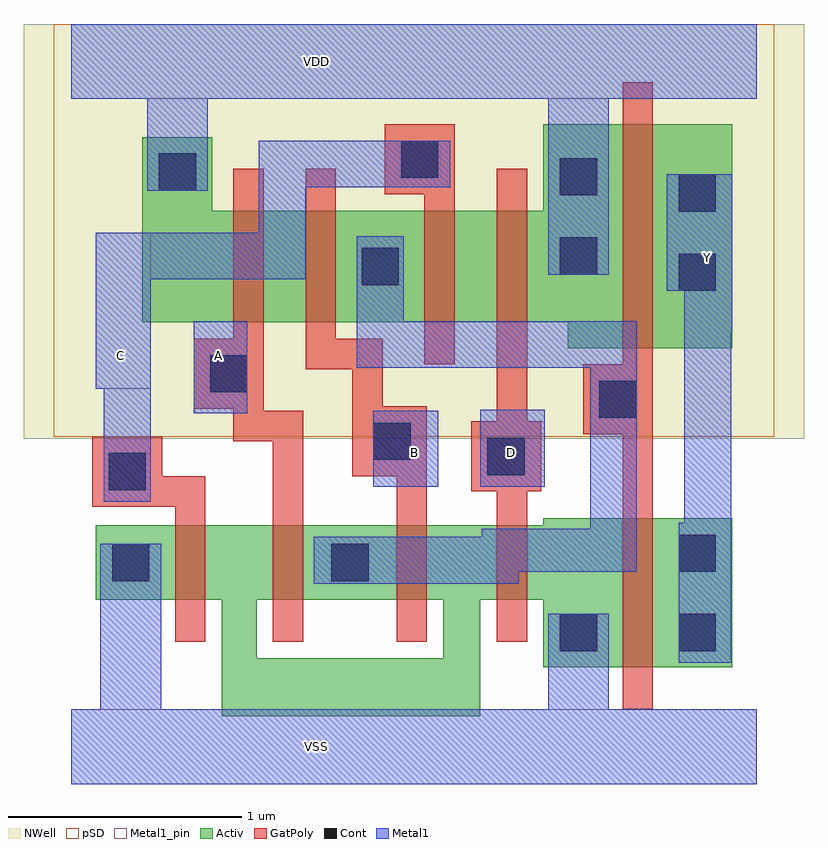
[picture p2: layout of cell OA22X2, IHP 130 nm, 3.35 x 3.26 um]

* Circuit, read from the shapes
.subckt OA22X2 A B C D VDD VSS Y
XM1 n1 C VSS VSUBS sg13_lv_nmos w=0.32u l=0.13u
XM2 n2 A n1 VSUBS sg13_lv_nmos w=0.32u l=0.13u
XM3 n1 B n2 VSUBS sg13_lv_nmos w=0.32u l=0.13u
XM4 VSS D n1 VSUBS sg13_lv_nmos w=0.32u l=0.13u
XM5 Y n2 VSS VSUBS sg13_lv_nmos w=0.64u l=0.13u
XM6 n3 A VDD n4 sg13_lv_pmos w=0.48u l=0.13u
XM7 n2 B n3 n4 sg13_lv_pmos w=0.48u l=0.13u
XM8 n5 C n2 n4 sg13_lv_pmos w=0.48u l=0.13u
XM9 VDD D n5 n4 sg13_lv_pmos w=0.48u l=0.13u
XM10 Y n2 VDD n4 sg13_lv_pmos w=0.96u l=0.13u
.ends

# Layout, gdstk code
import gdstk
lib = gdstk.Library(unit=1e-6, precision=1e-09)
def R(c, l, rs):  # rectangles x0, y0, x1, y1
    for r in rs: c.add(gdstk.rectangle(r[:2], r[2:], *l))
def P(c, l, *ps):  # polygons
    for p in ps: c.add(gdstk.Polygon(p, *l))
Activ = (1, 0)
GatPoly = (5, 0)
Cont = (6, 0)
Metal1 = (8, 0)
Metal1_pin = (8, 2)
pSD = (14, 0)
NWell = (31, 0)

oa22x2 = lib.new_cell('OA22X2')
P(oa22x2, Activ, [(0.645,0.13),(0.645,0.63),(0.105,0.63),(0.105,0.95),(1.595,0.95),(1.595,0.63),(0.795,0.63),(0.795,0.38),(1.595,0.38),(1.595,0.95),(2.025,0.95),(2.025,0.98),(2.835,0.98),(2.835,0.34),(2.025,0.34),(2.025,0.63),(1.755,0.63),(1.755,0.13)],
  [(2.13,1.71),(2.13,1.82),(0.305,1.82),(0.305,2.615),(0.605,2.615),(0.605,2.3),(2.025,2.3),(2.025,2.67),(2.835,2.67),(2.835,1.71)])
P(oa22x2, GatPoly, [(1.395,0.45),(1.395,1.16),(1.205,1.16),(1.205,1.62),(1.005,1.62),(1.005,2.48),(1.135,2.48),(1.135,1.75),(1.335,1.75),(1.335,1.46),(1.525,1.46),(1.525,0.45)],
  [(1.515,1.64),(1.515,2.37),(1.345,2.37),(1.345,2.67),(1.645,2.67),(1.645,1.64)],
  [(1.825,0.45),(1.825,1.095),(1.715,1.095),(1.715,1.395),(1.825,1.395),(1.825,2.48),(1.955,2.48),(1.955,1.395),(2.015,1.395),(2.015,1.095),(1.955,1.095),(1.955,0.45)],
  [(0.445,0.45),(0.445,1.03),(0.09,1.03),(0.09,1.33),(0.39,1.33),(0.39,1.16),(0.575,1.16),(0.575,0.45)],
  [(0.865,0.45),(0.865,1.31),(0.695,1.31),(0.695,1.45),(0.525,1.45),(0.525,1.75),(0.695,1.75),(0.695,2.48),(0.825,2.48),(0.825,1.44),(0.995,1.44),(0.995,0.45)],
  [(2.365,0.16),(2.365,1.34),(2.195,1.34),(2.195,1.64),(2.365,1.64),(2.365,2.85),(2.495,2.85),(2.495,0.16)])
R(oa22x2, Cont, [(2.095,0.41,2.255,0.57), (2.605,0.41,2.765,0.57), (0.175,0.71,0.335,0.87), (1.115,0.71,1.275,0.87), (2.605,0.75,2.765,0.91), (0.16,1.1,0.32,1.26), (1.785,1.165,1.945,1.325), (1.295,1.23,1.455,1.39), (2.265,1.41,2.425,1.57), (0.595,1.52,0.755,1.68), (2.605,1.955,2.765,2.115), (1.245,1.98,1.405,2.14), (2.095,2.025,2.255,2.185), (2.605,2.295,2.765,2.455), (2.095,2.365,2.255,2.525), (0.375,2.385,0.535,2.545), (1.415,2.44,1.575,2.6)])
R(oa22x2, Metal1, [(1.295,1.115,1.575,1.44), (1.755,1.115,2.03,1.445), (0.525,1.43,0.755,1.825)])
P(oa22x2, Metal1, [(2.045,2.025),(2.045,2.78),(0.585,2.78),(0.585,2.385),(0.325,2.385),(0.325,2.78),(0,2.78),(0,3.1),(2.94,3.1),(2.94,2.78),(2.305,2.78),(2.305,2.025)],
  [(0,-0.16),(0,0.16),(0.125,0.16),(0.125,0.87),(0.385,0.87),(0.385,0.16),(2.045,0.16),(2.045,0.57),(2.305,0.57),(2.305,0.16),(2.94,0.16),(2.94,-0.16)],
  [(0.14,1.05),(0.14,1.535),(0.105,1.535),(0.105,2.205),(0.805,2.205),(0.805,2.6),(1.625,2.6),(1.625,2.4),(1.005,2.4),(1.005,2.005),(0.34,2.005),(0.34,1.05)],
  [(2.605,0.36),(2.605,0.96),(2.63,0.96),(2.63,1.955),(2.555,1.955),(2.555,2.455),(2.835,2.455),(2.835,1.78),(2.83,1.78),(2.83,0.36)],
  [(1.04,0.7),(1.04,0.9),(1.76,0.9),(1.76,0.935),(2.225,0.935),(2.225,1.625),(1.225,1.625),(1.225,2.19),(1.425,2.19),(1.425,1.825),(2.425,1.825),(2.425,0.75),(1.92,0.75),(1.92,0.7)])
R(oa22x2, Metal1_pin, [(0,-0.16,2.94,0.16), (1.295,1.115,1.575,1.44), (1.755,1.115,2.03,1.445), (0.525,1.43,0.755,1.825), (0.105,1.535,0.34,2.205), (2.555,1.955,2.835,2.455), (0,2.78,2.94,3.1)])
P(oa22x2, Metal1_pin, [(2.605,0.36),(2.605,0.96),(2.63,0.96),(2.63,1.955),(2.555,1.955),(2.555,2.455),(2.835,2.455),(2.835,1.78),(2.83,1.78),(2.83,0.36)])
R(oa22x2, pSD, [(-0.075,1.33,3.015,3.1)])
R(oa22x2, NWell, [(-0.205,1.32,3.145,3.1)])
oa22x2.add(gdstk.Label('D', (1.89,1.26), layer=8, texttype=25))
oa22x2.add(gdstk.Label('C', (0.21,1.68), layer=8, texttype=25))
oa22x2.add(gdstk.Label('A', (0.63,1.68), layer=8, texttype=25))
oa22x2.add(gdstk.Label('Y', (2.73,2.1), layer=8, texttype=25))
oa22x2.add(gdstk.Label('B', (1.47,1.26), layer=8, texttype=25))
oa22x2.add(gdstk.Label('VSS', (1.05,0), layer=8, texttype=25))
oa22x2.add(gdstk.Label('VDD', (1.05,2.94), layer=8, texttype=25))

lib.write_gds('OA22X2.gds')
